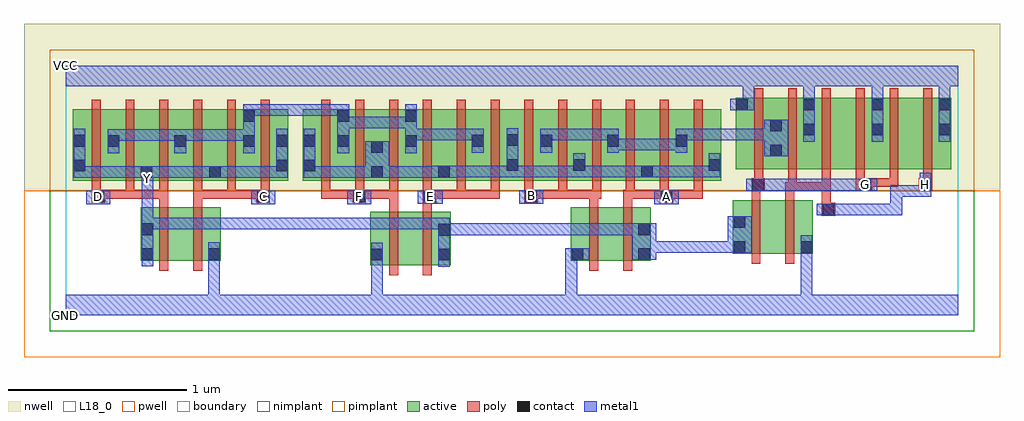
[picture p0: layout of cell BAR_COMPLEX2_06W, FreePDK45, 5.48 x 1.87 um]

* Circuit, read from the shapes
.subckt BAR_COMPLEX2_06W A B C D E F G GND H VCC Y
M1 n1 D Y VSUBS nfet w=0.3u l=0.05u
M2 GND C n1 VSUBS nfet w=0.3u l=0.05u
M3 n2 F GND VSUBS nfet w=0.3u l=0.05u
M4 Y E n2 VSUBS nfet w=0.3u l=0.05u
M5 n3 B GND VSUBS nfet w=0.3u l=0.05u
M6 Y A n3 VSUBS nfet w=0.3u l=0.05u
M7 n4 G Y VSUBS nfet w=0.3u l=0.05u
M8 GND H n4 VSUBS nfet w=0.3u l=0.05u
M9 n5 D Y n6 pfet w=0.4u l=0.05u m=3
M10 Y C n5 n6 pfet w=0.4u l=0.05u m=3
M11 n5 F n7 n6 pfet w=0.4u l=0.05u m=3
M12 n7 E n5 n6 pfet w=0.4u l=0.05u m=3
M13 n8 B n7 n6 pfet w=0.4u l=0.05u m=3
M14 n7 A n8 n6 pfet w=0.4u l=0.05u m=3
M15 n8 G VCC n6 pfet w=0.4u l=0.05u
M16 VCC H n8 n6 pfet w=0.4u l=0.05u
M17 n9 H VCC n6 pfet w=0.4u l=0.05u
M18 VCC G n9 n6 pfet w=0.4u l=0.05u
M19 n10 G VCC n6 pfet w=0.4u l=0.05u
M20 VCC H n10 n6 pfet w=0.4u l=0.05u
.ends

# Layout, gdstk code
import gdstk
lib = gdstk.Library(unit=1e-6, precision=1e-09)
def R(c, l, rs):  # rectangles x0, y0, x1, y1
    for r in rs: c.add(gdstk.rectangle(r[:2], r[2:], *l))
def A(c, l, x, y, w, h, nx, ny, dx, dy):  # array of equal rectangles
    R(c, l, [(x+i*dx, y+j*dy, x+i*dx+w, y+j*dy+h) for i in range(nx) for j in range(ny)])
active = (1, 0)
pwell = (2, 0)
nwell = (3, 0)
nimplant = (4, 0)
pimplant = (5, 0)
poly = (9, 0)
contact = (10, 0)
metal1 = (11, 0)
L18_0 = (18, 0)
boundary = (235, 0)

bar_complex2_06w = lib.new_cell('BAR_COMPLEX2_06W')
A(bar_complex2_06w, active, 1.33, 0.755, 0.265, 0.4, 3, 1, 0.19, 0)
A(bar_complex2_06w, active, 1.9, 0.755, 0.26, 0.4, 3, 1, 0.76, 0)
R(bar_complex2_06w, active, [(1.71,0.28,1.785,0.58), (1.71,0.28,1.935,0.58), (1.935,0.28,2.16,0.58), (2.085,0.302,2.16,0.58), (0.42,0.305,0.495,0.605), (0.42,0.305,0.645,0.605), (0.645,0.305,0.87,0.605), (0.795,0.305,0.87,0.605), (2.835,0.305,2.91,0.605), (2.835,0.305,3.06,0.605), (3.06,0.305,3.285,0.605), (3.21,0.305,3.285,0.605), (3.745,0.345,3.82,0.645), (3.745,0.345,3.97,0.645), (3.97,0.345,4.195,0.645), (4.12,0.345,4.195,0.645), (0.04,0.755,0.115,1.155), (0.04,0.755,0.305,1.155), (0.23,0.755,0.305,1.155), (0.23,0.755,0.49,1.155), (0.415,0.755,0.68,1.155), (0.415,0.755,0.49,1.07), (0.605,0.755,0.68,1.155), (0.605,0.755,0.875,1.155), (0.8,0.755,1.065,1.155), (0.8,0.755,0.875,1.07), (0.99,0.755,1.065,1.155), (0.99,0.755,1.25,1.155), (1.175,0.755,1.25,1.07), (1.33,0.755,1.405,1.07), (1.52,0.755,1.595,1.155), (1.71,0.755,1.785,1.07), (1.9,0.755,1.975,1.155), (2.085,0.755,2.35,1.155), (2.085,0.755,2.16,1.07), (2.275,0.755,2.35,1.155), (2.275,0.755,2.545,1.155), (2.47,0.755,2.545,1.155), (2.47,0.755,2.735,1.155), (2.66,0.755,2.735,1.155), (2.845,0.755,3.11,1.155), (2.845,0.755,2.92,1.07), (3.035,0.755,3.11,1.155), (3.035,0.755,3.3,1.155), (3.225,0.755,3.495,1.155), (3.225,0.755,3.3,1.07), (3.42,0.755,3.495,1.155), (3.605,0.755,3.68,1.047), (3.76,0.82,4.025,1.22), (3.95,0.82,4.21,1.22), (3.95,0.82,4.025,1.2), (4.135,0.82,4.21,1.22), (4.135,0.82,4.365,1.22), (4.365,0.82,4.595,1.22), (4.52,0.82,4.595,1.22), (4.52,0.82,4.745,1.22), (4.745,0.82,4.97,1.22), (4.895,0.82,4.97,1.22), (3.76,0.907,3.835,1.22)])
R(bar_complex2_06w, pwell, [(-0.235,-0.235,5.245,0.7)])
R(bar_complex2_06w, nwell, [(-0.235,0.7,5.245,1.635)])
R(bar_complex2_06w, nimplant, [(-0.09,-0.09,5.1,0.7)])
R(bar_complex2_06w, pimplant, [(-0.09,0.7,5.1,1.49)])
A(bar_complex2_06w, poly, 0.145, 0.655, 0.05, 0.095, 6, 1, 0.19, 0)
A(bar_complex2_06w, poly, 1.435, 0.655, 0.05, 0.095, 12, 1, 0.19, 0)
A(bar_complex2_06w, poly, 0.145, 0.7, 0.05, 0.51, 6, 1, 0.19, 0)
A(bar_complex2_06w, poly, 1.435, 0.7, 0.05, 0.51, 12, 1, 0.19, 0)
A(bar_complex2_06w, poly, 4.435, 0.72, 0.05, 0.095, 3, 1, 0.19, 0)
A(bar_complex2_06w, poly, 3.865, 0.765, 0.05, 0.51, 6, 1, 0.19, 0)
R(bar_complex2_06w, poly, [(1.815,0.225,1.865,0.635), (2.005,0.225,2.055,0.635), (0.525,0.25,0.575,0.66), (0.715,0.25,0.765,0.66), (2.94,0.25,2.99,0.66), (3.13,0.25,3.18,0.66), (3.85,0.29,3.9,0.7), (4.04,0.29,4.09,0.7), (4.245,0.557,4.32,0.632), (4.245,0.582,4.295,0.632), (4.245,0.582,4.295,0.632), (4.245,0.582,4.295,0.745), (1.815,0.585,1.865,0.705), (2.005,0.585,2.055,0.68), (0.525,0.61,0.575,0.705), (0.715,0.61,0.765,0.705), (2.94,0.61,2.99,0.705), (3.13,0.61,3.18,0.705), (0.145,0.63,0.22,0.705), (1.07,0.63,1.145,0.705), (1.61,0.63,1.685,0.705), (2.005,0.63,2.08,0.705), (2.575,0.63,2.65,0.705), (3.335,0.63,3.41,0.705), (3.85,0.65,3.9,0.745), (4.04,0.65,4.09,0.745), (0.17,0.655,0.22,0.705), (0.17,0.655,0.22,0.705), (0.17,0.655,0.385,0.705), (0.335,0.655,0.385,0.705), (0.335,0.655,0.575,0.705), (0.525,0.655,0.575,0.705), (0.525,0.655,0.575,0.705), (0.525,0.655,0.575,0.705), (0.715,0.655,0.765,0.705), (0.715,0.655,0.765,0.705), (0.715,0.655,0.765,0.705), (0.715,0.655,0.955,0.705), (0.905,0.655,0.955,0.705), (0.905,0.655,0.955,0.705), (0.905,0.655,0.955,0.705), (0.905,0.655,1.12,0.705), (1.435,0.655,1.485,0.705), (1.435,0.655,1.66,0.705), (1.61,0.655,1.66,0.705), (1.61,0.655,1.66,0.705), (1.635,0.655,1.865,0.705), (1.815,0.655,1.865,0.705), (1.815,0.655,1.865,0.705), (1.815,0.655,1.865,0.705), (2.03,0.655,2.08,0.705), (2.03,0.655,2.08,0.705), (2.03,0.655,2.245,0.705), (2.195,0.655,2.245,0.705), (2.195,0.655,2.435,0.705), (2.385,0.655,2.435,0.705), (2.385,0.655,2.435,0.705), (2.385,0.655,2.435,0.705), (2.6,0.655,2.815,0.705), (2.765,0.655,2.815,0.705), (2.765,0.655,2.815,0.705), (2.765,0.655,2.815,0.705), (2.765,0.655,2.99,0.705), (2.94,0.655,2.99,0.705), (2.94,0.655,2.99,0.705), (2.94,0.655,3.005,0.705), (3.13,0.655,3.195,0.705), (3.145,0.655,3.385,0.705), (3.335,0.655,3.385,0.705), (3.335,0.655,3.385,0.705), (3.36,0.655,3.575,0.705), (3.525,0.655,3.575,0.705), (3.525,0.655,3.575,0.705), (3.525,0.655,3.575,0.705), (3.85,0.695,3.925,0.77), (4.04,0.695,4.105,0.745), (4.055,0.695,4.105,0.815), (4.055,0.695,4.292,0.745), (4.242,0.695,4.292,0.745), (4.242,0.695,4.292,0.745), (4.242,0.695,4.295,0.745), (4.245,0.695,4.295,0.815), (4.435,0.695,4.527,0.77), (4.79,0.695,4.865,0.77), (3.865,0.72,3.915,0.815), (4.477,0.72,4.675,0.77), (4.625,0.72,4.675,0.77), (4.625,0.72,4.675,0.77), (4.625,0.72,4.675,0.77)])
R(bar_complex2_06w, contact, [(1.715,0.307,1.78,0.372), (2.09,0.307,2.155,0.372), (0.425,0.31,0.49,0.375), (0.8,0.31,0.865,0.375), (2.84,0.31,2.905,0.375), (3.215,0.31,3.28,0.375), (3.75,0.35,3.815,0.415), (4.125,0.35,4.19,0.415), (2.09,0.447,2.155,0.512), (0.425,0.45,0.49,0.515), (3.215,0.45,3.28,0.515), (3.75,0.49,3.815,0.555), (4.25,0.562,4.315,0.627), (0.15,0.635,0.215,0.7), (1.075,0.635,1.14,0.7), (1.615,0.635,1.68,0.7), (2.01,0.635,2.075,0.7), (2.58,0.635,2.645,0.7), (3.34,0.635,3.405,0.7), (3.855,0.7,3.92,0.765), (4.457,0.7,4.522,0.765), (4.795,0.7,4.86,0.765), (0.42,0.772,0.485,0.837), (0.805,0.772,0.87,0.837), (1.715,0.772,1.78,0.837), (2.09,0.775,2.155,0.84), (3.23,0.775,3.295,0.84), (0.045,0.807,0.11,0.872), (1.18,0.807,1.245,0.872), (1.335,0.807,1.4,0.872), (2.475,0.81,2.54,0.875), (2.85,0.81,2.915,0.875), (3.61,0.81,3.675,0.875), (3.955,0.892,4.02,0.957), (1.715,0.912,1.78,0.977), (0.235,0.945,0.3,1.01), (0.61,0.945,0.675,1.01), (0.995,0.945,1.06,1.01), (1.525,0.945,1.59,1.01), (1.905,0.945,1.97,1.01), (0.045,0.947,0.11,1.012), (1.18,0.947,1.245,1.012), (1.335,0.947,1.4,1.012), (2.28,0.947,2.345,1.012), (2.665,0.947,2.73,1.012), (3.04,0.947,3.105,1.012), (3.425,0.947,3.49,1.012), (2.475,0.95,2.54,1.015), (4.14,1.01,4.205,1.075), (4.525,1.01,4.59,1.075), (4.9,1.01,4.965,1.075), (3.955,1.032,4.02,1.097), (0.995,1.085,1.06,1.15), (1.525,1.085,1.59,1.15), (1.905,1.085,1.97,1.15), (3.765,1.15,3.83,1.215), (4.14,1.15,4.205,1.215), (4.525,1.15,4.59,1.215), (4.9,1.15,4.965,1.215)])
R(bar_complex2_06w, metal1, [(0,0,5.01,0.115), (0.8,0.05,0.865,0.115), (0.8,0.05,0.865,0.115), (0.8,0.05,0.865,0.115), (0.8,0.05,0.865,0.115), (0.8,0.05,0.865,0.34), (1.715,0.05,1.78,0.115), (1.715,0.05,1.78,0.115), (1.715,0.05,1.78,0.337), (2.805,0.05,2.87,0.375), (4.125,0.05,4.19,0.115), (4.125,0.05,4.19,0.115), (4.125,0.05,4.19,0.115), (4.125,0.05,4.19,0.115), (4.125,0.05,4.19,0.38), (1.715,0.272,1.78,0.407), (1.715,0.272,1.78,0.337), (1.715,0.272,1.78,0.337), (2.09,0.272,2.155,0.547), (0.425,0.275,0.49,0.55), (0.8,0.275,0.865,0.41), (2.805,0.31,2.87,0.375), (2.805,0.31,2.87,0.375), (2.805,0.31,2.87,0.375), (2.805,0.31,2.87,0.375), (2.805,0.31,2.94,0.375), (3.18,0.31,3.315,0.515), (4.125,0.315,4.19,0.45), (3.25,0.35,3.315,0.415), (3.25,0.35,3.315,0.415), (3.25,0.35,3.467,0.415), (3.402,0.35,3.467,0.415), (3.402,0.35,3.627,0.415), (3.562,0.35,3.627,0.415), (3.562,0.35,3.627,0.415), (3.562,0.35,3.627,0.415), (3.562,0.35,3.78,0.415), (3.715,0.35,3.85,0.555), (2.09,0.45,2.155,0.515), (2.09,0.45,2.155,0.515), (2.09,0.45,2.402,0.515), (2.337,0.45,2.402,0.515), (2.337,0.45,2.402,0.515), (2.337,0.45,2.402,0.515), (2.337,0.45,2.592,0.515), (2.527,0.45,2.592,0.515), (2.527,0.45,2.592,0.515), (2.527,0.45,2.592,0.515), (2.527,0.45,2.73,0.515), (2.665,0.45,2.73,0.515), (2.665,0.45,2.73,0.515), (2.665,0.45,2.73,0.515), (2.665,0.45,2.967,0.515), (2.902,0.45,2.967,0.515), (2.902,0.45,2.967,0.515), (2.902,0.45,2.967,0.515), (2.902,0.45,3.105,0.515), (3.04,0.45,3.105,0.515), (3.04,0.45,3.105,0.515), (3.04,0.45,3.105,0.515), (3.04,0.45,3.245,0.515), (0.425,0.482,0.49,0.547), (0.425,0.482,0.49,0.547), (0.425,0.482,0.657,0.547), (0.592,0.482,0.657,0.547), (0.592,0.482,0.657,0.547), (0.592,0.482,0.657,0.547), (0.592,0.482,0.812,0.547), (0.747,0.482,0.812,0.547), (0.747,0.482,0.812,0.547), (0.747,0.482,0.812,0.547), (0.747,0.482,1.107,0.547), (1.042,0.482,1.107,0.547), (1.042,0.482,1.245,0.547), (1.18,0.482,1.245,0.547), (1.18,0.482,1.245,0.547), (1.18,0.482,1.245,0.547), (1.18,0.482,1.4,0.547), (1.335,0.482,1.4,0.547), (1.335,0.482,1.4,0.547), (1.335,0.482,1.4,0.547), (1.335,0.482,1.607,0.547), (1.542,0.482,1.607,0.547), (1.542,0.482,1.607,0.547), (1.542,0.482,1.607,0.547), (1.542,0.482,1.812,0.547), (1.747,0.482,1.812,0.547), (1.747,0.482,1.812,0.547), (1.747,0.482,1.812,0.547), (1.747,0.482,1.97,0.547), (1.905,0.482,1.97,0.547), (1.905,0.482,1.97,0.547), (1.905,0.482,1.97,0.547), (1.905,0.482,2.155,0.547), (0.425,0.485,0.49,0.767), (4.215,0.562,4.35,0.627), (4.285,0.562,4.35,0.627), (4.285,0.562,4.35,0.627), (4.285,0.562,4.35,0.627), (4.285,0.562,4.35,0.627), (4.285,0.562,4.487,0.627), (4.422,0.562,4.487,0.627), (4.422,0.562,4.487,0.627), (4.422,0.562,4.487,0.627), (4.422,0.562,4.695,0.627), (4.63,0.562,4.695,0.73), (4.63,0.562,4.695,0.627), (4.63,0.562,4.695,0.627), (4.63,0.562,4.695,0.627), (0.115,0.622,0.25,0.7), (1.04,0.622,1.175,0.7), (1.58,0.622,1.715,0.7), (3.305,0.622,3.44,0.7), (2.545,0.625,2.68,0.702), (1.975,0.627,2.117,0.7), (4.63,0.665,4.86,0.73), (4.63,0.665,4.695,0.73), (4.795,0.665,4.86,0.8), (3.82,0.7,3.955,0.765), (3.89,0.7,3.955,0.765), (3.89,0.7,3.955,0.765), (3.89,0.7,4.122,0.765), (4.057,0.7,4.122,0.765), (4.057,0.7,4.122,0.765), (4.057,0.7,4.122,0.765), (4.057,0.7,4.35,0.765), (4.285,0.7,4.35,0.765), (4.285,0.7,4.35,0.765), (4.285,0.7,4.35,0.765), (4.285,0.7,4.487,0.765), (4.422,0.7,4.557,0.765), (0.425,0.702,0.49,0.837), (0.045,0.772,0.11,1.047), (0.045,0.772,0.11,0.837), (0.045,0.772,0.11,0.837), (0.045,0.772,0.312,0.837), (0.247,0.772,0.312,0.837), (0.247,0.772,0.312,0.837), (0.247,0.772,0.312,0.837), (0.247,0.772,0.45,0.837), (0.385,0.772,0.52,0.837), (0.425,0.772,0.49,0.837), (0.455,0.772,0.52,0.837), (0.455,0.772,0.52,0.837), (0.455,0.772,0.657,0.837), (0.592,0.772,0.657,0.837), (0.592,0.772,0.657,0.837), (0.592,0.772,0.657,0.837), (0.592,0.772,0.835,0.837), (0.77,0.772,0.905,0.837), (0.84,0.772,0.905,0.837), (0.84,0.772,0.905,0.837), (0.84,0.772,1.107,0.837), (1.042,0.772,1.107,0.837), (1.042,0.772,1.107,0.837), (1.042,0.772,1.107,0.837), (1.042,0.772,1.245,0.837), (1.18,0.772,1.245,1.047), (1.335,0.772,1.4,1.047), (1.335,0.772,1.4,0.837), (1.335,0.772,1.4,0.837), (1.335,0.772,1.537,0.837), (1.472,0.772,1.537,0.837), (1.472,0.772,1.537,0.837), (1.472,0.772,1.537,0.837), (1.472,0.772,1.745,0.837), (1.68,0.772,1.815,0.977), (1.75,0.772,1.815,0.837), (1.75,0.772,1.815,0.837), (1.75,0.772,1.97,0.837), (1.905,0.772,1.97,0.837), (1.905,0.772,1.97,0.837), (1.905,0.772,1.97,0.837), (1.905,0.772,2.12,0.837), (2.055,0.772,2.19,0.84), (2.125,0.775,2.19,0.84), (2.125,0.775,2.19,0.84), (2.125,0.775,2.402,0.84), (2.337,0.775,2.402,0.84), (2.337,0.775,2.402,0.84), (2.337,0.775,2.402,0.84), (2.337,0.775,2.54,0.84), (2.475,0.775,2.54,1.05), (2.475,0.775,2.54,0.84), (2.475,0.775,2.54,0.84), (2.475,0.775,2.732,0.84), (2.667,0.775,2.732,0.84), (2.667,0.775,2.732,0.84), (2.667,0.775,2.732,0.84), (2.667,0.775,2.915,0.84), (2.85,0.775,2.915,0.91), (2.85,0.775,2.915,0.84), (2.85,0.775,2.915,0.84), (2.85,0.775,3.105,0.84), (3.04,0.775,3.105,0.84), (3.04,0.775,3.105,0.84), (3.04,0.775,3.105,0.84), (3.04,0.775,3.26,0.84), (3.195,0.775,3.33,0.84), (3.265,0.775,3.33,0.84), (3.265,0.775,3.33,0.84), (3.265,0.775,3.467,0.84), (3.402,0.775,3.467,0.84), (3.402,0.775,3.642,0.84), (3.577,0.775,3.642,0.84), (3.577,0.775,3.675,0.84), (3.61,0.775,3.675,0.91), (3.92,0.892,4.055,1.097), (0.235,0.91,0.3,1.045), (0.61,0.91,0.675,1.045), (0.995,0.91,1.06,1.185), (1.525,0.91,1.59,1.185), (1.905,0.91,1.97,1.185), (2.28,0.912,2.345,1.047), (2.665,0.912,2.73,1.047), (3.04,0.912,3.105,1.047), (3.425,0.912,3.49,1.047), (3.04,0.925,3.105,0.99), (3.04,0.925,3.105,0.99), (3.04,0.925,3.242,0.99), (3.177,0.925,3.242,0.99), (3.177,0.925,3.49,0.99), (3.425,0.925,3.49,0.99), (3.425,0.925,3.49,0.99), (4.14,0.975,4.205,1.25), (4.525,0.975,4.59,1.25), (4.9,0.975,4.965,1.25), (0.235,0.98,0.3,1.045), (0.235,0.98,0.3,1.045), (0.235,0.98,0.52,1.045), (0.455,0.98,0.52,1.045), (0.455,0.98,0.52,1.045), (0.455,0.98,0.52,1.045), (0.455,0.98,0.675,1.045), (0.61,0.98,0.675,1.045), (0.61,0.98,0.675,1.045), (0.61,0.98,0.812,1.045), (0.747,0.98,0.812,1.045), (0.747,0.98,0.812,1.045), (0.747,0.98,0.812,1.045), (0.747,0.98,1.06,1.045), (1.905,0.982,1.97,1.047), (1.905,0.982,1.97,1.047), (1.905,0.982,2.16,1.047), (2.095,0.982,2.16,1.047), (2.095,0.982,2.16,1.047), (2.095,0.982,2.16,1.047), (2.095,0.982,2.345,1.047), (2.665,0.982,2.73,1.047), (2.665,0.982,2.73,1.047), (2.665,0.982,2.967,1.047), (2.902,0.982,2.967,1.047), (2.902,0.982,2.967,1.047), (2.902,0.982,2.967,1.047), (2.902,0.982,3.105,1.047), (3.425,0.982,3.642,1.047), (3.577,0.982,3.642,1.047), (3.577,0.982,3.642,1.047), (3.577,0.982,3.642,1.047), (3.577,0.982,3.812,1.047), (3.747,0.982,3.812,1.047), (3.747,0.982,3.812,1.047), (3.747,0.982,3.812,1.047), (3.747,0.982,3.985,1.047), (3.92,0.982,3.985,1.047), (3.92,0.982,3.985,1.047), (1.525,1.05,1.59,1.115), (1.525,1.05,1.59,1.115), (1.525,1.05,1.832,1.115), (1.767,1.05,1.832,1.115), (1.767,1.05,1.832,1.115), (1.767,1.05,1.832,1.115), (1.767,1.05,1.97,1.115), (0.995,1.12,1.06,1.185), (0.995,1.12,1.06,1.185), (0.995,1.12,1.245,1.185), (1.18,1.12,1.245,1.185), (1.18,1.12,1.382,1.185), (1.317,1.12,1.382,1.185), (1.317,1.12,1.382,1.185), (1.317,1.12,1.382,1.185), (1.317,1.12,1.59,1.185), (3.73,1.15,3.865,1.215), (3.8,1.15,3.865,1.35), (4.14,1.185,4.205,1.35), (4.525,1.185,4.59,1.35), (4.9,1.185,4.965,1.35), (0,1.285,5.01,1.4)])
R(bar_complex2_06w, L18_0, [(0,0,5.01,0.115), (0.8,0.05,0.865,0.115), (0.8,0.05,0.865,0.115), (0.8,0.05,0.865,0.115), (0.8,0.05,0.865,0.115), (0.8,0.05,0.865,0.34), (1.715,0.05,1.78,0.115), (1.715,0.05,1.78,0.115), (1.715,0.05,1.78,0.337), (2.805,0.05,2.87,0.375), (4.125,0.05,4.19,0.115), (4.125,0.05,4.19,0.115), (4.125,0.05,4.19,0.115), (4.125,0.05,4.19,0.115), (4.125,0.05,4.19,0.38), (1.715,0.272,1.78,0.337), (1.715,0.272,1.78,0.337), (1.715,0.272,1.78,0.407), (2.09,0.272,2.155,0.547), (0.425,0.275,0.49,0.55), (0.8,0.275,0.865,0.41), (2.805,0.31,2.87,0.375), (2.805,0.31,2.87,0.375), (2.805,0.31,2.87,0.375), (2.805,0.31,2.87,0.375), (2.805,0.31,2.94,0.375), (3.18,0.31,3.315,0.515), (4.125,0.315,4.19,0.45), (3.25,0.35,3.315,0.415), (3.25,0.35,3.315,0.415), (3.25,0.35,3.467,0.415), (3.402,0.35,3.467,0.415), (3.402,0.35,3.627,0.415), (3.562,0.35,3.627,0.415), (3.562,0.35,3.627,0.415), (3.562,0.35,3.627,0.415), (3.562,0.35,3.78,0.415), (3.715,0.35,3.85,0.555), (2.09,0.45,2.155,0.515), (2.09,0.45,2.155,0.515), (2.09,0.45,2.402,0.515), (2.337,0.45,2.402,0.515), (2.337,0.45,2.402,0.515), (2.337,0.45,2.402,0.515), (2.337,0.45,2.592,0.515), (2.527,0.45,2.592,0.515), (2.527,0.45,2.592,0.515), (2.527,0.45,2.592,0.515), (2.527,0.45,2.73,0.515), (2.665,0.45,2.73,0.515), (2.665,0.45,2.73,0.515), (2.665,0.45,2.73,0.515), (2.665,0.45,2.967,0.515), (2.902,0.45,2.967,0.515), (2.902,0.45,2.967,0.515), (2.902,0.45,2.967,0.515), (2.902,0.45,3.105,0.515), (3.04,0.45,3.105,0.515), (3.04,0.45,3.105,0.515), (3.04,0.45,3.105,0.515), (3.04,0.45,3.245,0.515), (0.425,0.482,0.49,0.547), (0.425,0.482,0.49,0.547), (0.425,0.482,0.657,0.547), (0.592,0.482,0.657,0.547), (0.592,0.482,0.657,0.547), (0.592,0.482,0.657,0.547), (0.592,0.482,0.812,0.547), (0.747,0.482,0.812,0.547), (0.747,0.482,0.812,0.547), (0.747,0.482,0.812,0.547), (0.747,0.482,1.107,0.547), (1.042,0.482,1.107,0.547), (1.042,0.482,1.245,0.547), (1.18,0.482,1.245,0.547), (1.18,0.482,1.245,0.547), (1.18,0.482,1.245,0.547), (1.18,0.482,1.4,0.547), (1.335,0.482,1.4,0.547), (1.335,0.482,1.4,0.547), (1.335,0.482,1.4,0.547), (1.335,0.482,1.607,0.547), (1.542,0.482,1.607,0.547), (1.542,0.482,1.607,0.547), (1.542,0.482,1.607,0.547), (1.542,0.482,1.812,0.547), (1.747,0.482,1.812,0.547), (1.747,0.482,1.812,0.547), (1.747,0.482,1.812,0.547), (1.747,0.482,1.97,0.547), (1.905,0.482,1.97,0.547), (1.905,0.482,1.97,0.547), (1.905,0.482,1.97,0.547), (1.905,0.482,2.155,0.547), (0.425,0.485,0.49,0.767), (4.215,0.562,4.35,0.627), (4.285,0.562,4.35,0.627), (4.285,0.562,4.35,0.627), (4.285,0.562,4.35,0.627), (4.285,0.562,4.35,0.627), (4.285,0.562,4.487,0.627), (4.422,0.562,4.487,0.627), (4.422,0.562,4.487,0.627), (4.422,0.562,4.487,0.627), (4.422,0.562,4.695,0.627), (4.63,0.562,4.695,0.627), (4.63,0.562,4.695,0.627), (4.63,0.562,4.695,0.627), (4.63,0.562,4.695,0.73), (0.115,0.622,0.25,0.7), (1.04,0.622,1.175,0.7), (1.58,0.622,1.715,0.7), (3.305,0.622,3.44,0.7), (2.545,0.625,2.68,0.702), (1.975,0.627,2.117,0.7), (0.15,0.635,0.215,0.7), (1.075,0.635,1.14,0.7), (1.615,0.635,1.68,0.7), (2.017,0.635,2.082,0.7), (3.34,0.635,3.405,0.7), (2.58,0.637,2.645,0.702), (4.63,0.665,4.695,0.73), (4.63,0.665,4.86,0.73), (4.795,0.665,4.86,0.8), (3.82,0.7,3.955,0.765), (3.89,0.7,3.955,0.765), (3.89,0.7,3.955,0.765), (3.89,0.7,4.122,0.765), (4.057,0.7,4.122,0.765), (4.057,0.7,4.122,0.765), (4.057,0.7,4.122,0.765), (4.057,0.7,4.35,0.765), (4.285,0.7,4.35,0.765), (4.285,0.7,4.35,0.765), (4.285,0.7,4.35,0.765), (4.285,0.7,4.487,0.765), (4.422,0.7,4.557,0.765), (4.457,0.7,4.522,0.765), (4.795,0.7,4.86,0.765), (0.425,0.702,0.49,0.837), (0.425,0.737,0.49,0.802), (0.045,0.772,0.11,1.047), (0.045,0.772,0.11,0.837), (0.045,0.772,0.11,0.837), (0.045,0.772,0.312,0.837), (0.247,0.772,0.312,0.837), (0.247,0.772,0.312,0.837), (0.247,0.772,0.312,0.837), (0.247,0.772,0.45,0.837), (0.385,0.772,0.52,0.837), (0.425,0.772,0.49,0.837), (0.455,0.772,0.52,0.837), (0.455,0.772,0.52,0.837), (0.455,0.772,0.657,0.837), (0.592,0.772,0.657,0.837), (0.592,0.772,0.657,0.837), (0.592,0.772,0.657,0.837), (0.592,0.772,0.835,0.837), (0.77,0.772,0.905,0.837), (0.84,0.772,0.905,0.837), (0.84,0.772,0.905,0.837), (0.84,0.772,1.107,0.837), (1.042,0.772,1.107,0.837), (1.042,0.772,1.107,0.837), (1.042,0.772,1.107,0.837), (1.042,0.772,1.245,0.837), (1.18,0.772,1.245,1.047), (4.14,0.975,4.205,1.25), (4.525,0.975,4.59,1.25), (4.9,0.975,4.965,1.25), (3.73,1.15,3.865,1.215), (3.8,1.15,3.865,1.35), (4.14,1.185,4.205,1.35), (4.525,1.185,4.59,1.35), (4.9,1.185,4.965,1.35), (0,1.285,5.01,1.4)])
R(bar_complex2_06w, boundary, [(0,0,5.01,1.4)])
bar_complex2_06w.add(gdstk.Label('A', (3.372,0.667), layer=11, texttype=0))
bar_complex2_06w.add(gdstk.Label('B', (2.612,0.67), layer=11, texttype=0))
bar_complex2_06w.add(gdstk.Label('C', (1.107,0.667), layer=11, texttype=0))
bar_complex2_06w.add(gdstk.Label('D', (0.182,0.667), layer=11, texttype=0))
bar_complex2_06w.add(gdstk.Label('E', (2.05,0.667), layer=11, texttype=0))
bar_complex2_06w.add(gdstk.Label('F', (1.647,0.667), layer=11, texttype=0))
bar_complex2_06w.add(gdstk.Label('G', (4.49,0.732), layer=11, texttype=0))
bar_complex2_06w.add(gdstk.Label('H', (4.827,0.732), layer=11, texttype=0))
bar_complex2_06w.add(gdstk.Label('Y', (0.457,0.77), layer=11, texttype=0))
bar_complex2_06w.add(gdstk.Label('VCC', (0,1.4), layer=11, texttype=0))
bar_complex2_06w.add(gdstk.Label('GND', (0,0), layer=11, texttype=0))

lib.write_gds('BAR_COMPLEX2_06W.gds')
